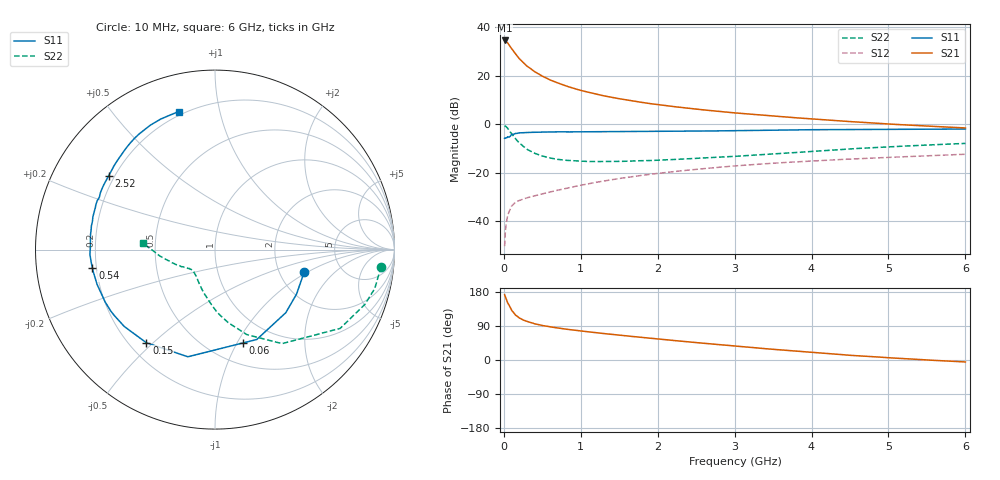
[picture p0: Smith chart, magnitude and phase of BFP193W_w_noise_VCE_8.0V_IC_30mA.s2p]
! Infineon Technologies  Discrete & RF Semiconductors
! BFP193W
! VCE = 8.0 V,  IC =  30 mA
! Common Emitter S-Parameters:  Jan 2016
# GHz  S  MA  R  50
!  f  S11  S21  S12  S22
! GHz  MAG  ANG  MAG  ANG  MAG  ANG  MAG  ANG
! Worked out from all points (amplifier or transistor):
!   210 points, 10 MHz to 6 GHz, reference 50 ohm
!   highest |S21| = 34.4 dB at 10 MHz (marker M1)
!   |S21| within 3 dB of that: start of sweep to 93.16 MHz
!   unconditionally stable (mu >= 1): 869.7 MHz to 4.465 GHz
!   at 185 MHz: K = 0.40, MSG = 29.6 dB, |S12| = -31.6 dB
!   at 1.52 GHz: K = 1.10, MAG = 14.4 dB, |S12| = -22.2 dB
!   at 6 GHz: K = 0.96, MSG = 5.4 dB, |S12| = -12.4 dB
!   lowest NFmin = 1.90 dB at 450 MHz
!   S11 on the Smith chart (normalised r, x): 10 MHz: 2.76, -0.92; 60 MHz: 0.72, -1.06; 150 MHz: 0.27, -0.48; 540 MHz: 0.18, -0.07; 2.52 GHz: 0.18, +0.30; 6 GHz: 0.18, +0.75
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0.01  0.5127 -13.9  52.77 172.3  0.0031 82.8  0.9302 -5.9
0.02  0.5175 -28.6  52.02 167.1  0.0062 78.8  0.9162 -13.7
0.03  0.5284 -41.7  50.69 161.4  0.0088 75.1  0.8891 -20.1
0.05  0.5523 -65.1  46.78 150.6  0.0133 65.3  0.8241 -32.2
0.06  0.543 -73.3  44.32 147.5  0.0147 61.4  0.7799 -35.8
0.1  0.6159 -104.2  36.22 131.1  0.0206 51.4  0.6435 -54.5
0.15  0.6447 -126.4  28.06 118.7  0.0248 45.1  0.5052 -69.5
0.2  0.6625 -139.7  22.35 111.0  0.0271 41.9  0.413 -79.8
0.24  0.6704 -146.7  19.3 106.8  0.0284 41.4  0.3642 -85.9
0.3  0.678 -154.6  15.69 101.6  0.0306 41.8  0.3057 -93.9
0.4  0.6849 -163.5  12.03 95.5  0.0336 43.6  0.2524 -103.7
0.54  0.6904 -171.4  9.094 89.7  0.0382 46.9  0.2138 -113.4
0.6  0.6933 -174.1  8.148 87.5  0.0403 48.1  0.202 -117.1
0.8  0.6944 179.0  6.164 81.6  0.0477 51.7  0.1812 -125.3
1.02  0.6986 173.2  4.863 76.3  0.0563 54.3  0.1737 -131.8
1.4  0.7044 165.0  3.573 67.7  0.0721 56.2  0.1718 -138.4
2.02  0.7127 153.6  2.508 55.1  0.0981 55.5  0.1827 -144.9
2.52  0.7208 145.2  2.027 45.6  0.1189 53.2  0.1983 -150.3
3.1  0.7392 136.2  1.659 35.3  0.1423 49.7  0.2234 -157.0
4.1  0.7718 122.2  1.253 18.6  0.1786 43.0  0.2818 -169.2
5.1  0.7879 111.9  0.989 4.9  0.2109 36.5  0.3483 -179.3
6  0.795 104.8  0.838 -5.2  0.241 31.4  0.4028 174.9
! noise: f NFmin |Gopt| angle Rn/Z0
0.45  1.9  0.4  180  0.09
0.9  1.95  0.43  -173  0.11
1.8  2.4  0.58  -144  0.24
